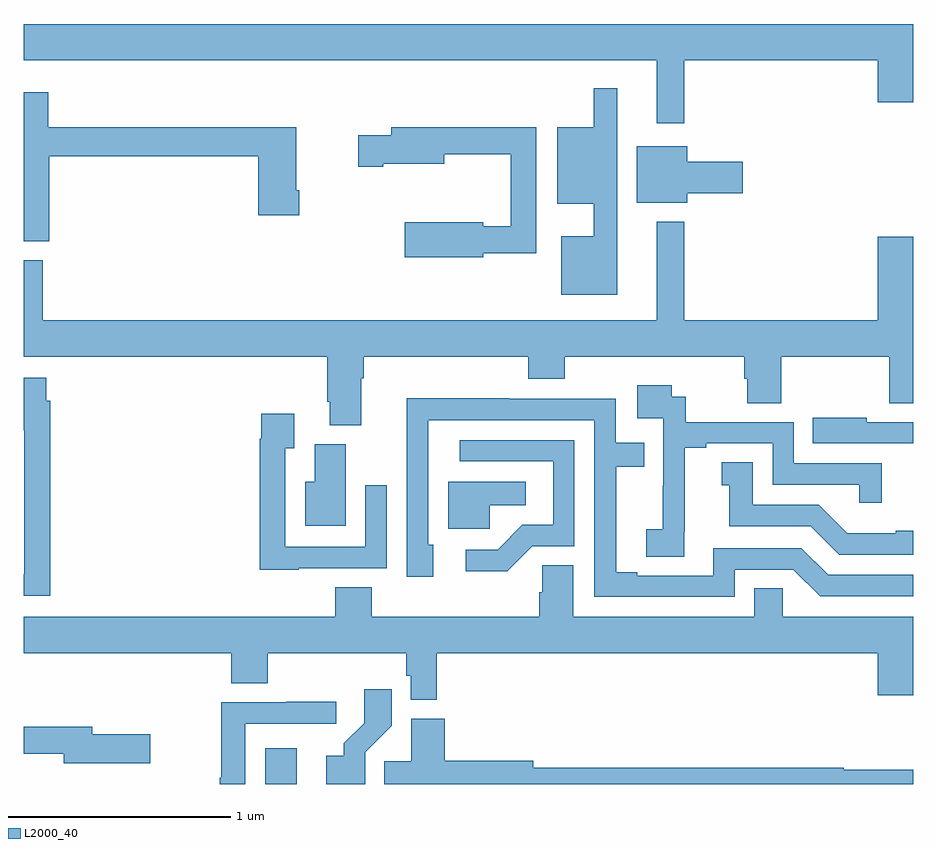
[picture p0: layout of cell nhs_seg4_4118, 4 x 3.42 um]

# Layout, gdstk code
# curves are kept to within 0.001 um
import gdstk
lib = gdstk.Library(unit=1e-6, precision=1e-09)
def R(c, l, rs):  # rectangles x0, y0, x1, y1
    for r in rs: c.add(gdstk.rectangle(r[:2], r[2:], *l))
def P(c, l, *ps):  # polygons
    for p in ps: c.add(gdstk.Polygon(p, *l))
L2000_40 = (2000, 40)

nhs_seg4_4118 = lib.new_cell('nhs_seg4_4118')
R(nhs_seg4_4118, L2000_40, [(330.086,794.9,330.229,795.061)])
P(nhs_seg4_4118, L2000_40, [(331.969,798.152),(332.84,798.152),(332.84,797.964),(333,797.964),(333,798.316),(329,798.316),(329,798.152),(331.847,798.152),(331.847,797.871),(331.969,797.871)],
  [(331.669,798.028),(331.563,798.028),(331.563,797.851),(331.4,797.851),(331.4,797.507),(331.563,797.507),(331.563,797.362),(331.418,797.362),(331.418,797.099),(331.669,797.099)],
  [(329.116,797.722),(330.056,797.722),(330.056,797.457),(330.239,797.457),(330.239,797.569),(330.226,797.569),(330.226,797.851),(329.111,797.851),(329.111,798.01),(329,798.01),(329,797.34),(329.116,797.34)],
  [(331.066,797.286),(331.305,797.286),(331.305,797.851),(330.653,797.851),(330.653,797.817),(330.504,797.817),(330.504,797.675),(330.616,797.675),(330.616,797.687),(330.892,797.687),(330.892,797.73),(331.189,797.73),(331.189,797.407),(331.066,797.407),(331.066,797.425),(330.714,797.425),(330.714,797.267),(331.066,797.267)],
  [(331.984,797.555),(332.233,797.555),(332.233,797.697),(331.984,797.697),(331.984,797.767),(331.757,797.767),(331.757,797.513),(331.984,797.513)],
  [(330.517,796.724),(330.53,796.724),(330.53,796.82),(331.268,796.82),(331.268,796.721),(331.433,796.721),(331.433,796.82),(332.24,796.82),(332.24,796.722),(332.252,796.722),(332.252,796.612),(332.405,796.612),(332.405,796.82),(332.891,796.82),(332.891,796.612),(333,796.612),(333,797.359),(332.84,797.359),(332.84,796.984),(331.969,796.984),(331.969,797.428),(331.847,797.428),(331.847,796.984),(329.086,796.984),(329.086,797.255),(329,797.255),(329,796.82),(330.365,796.82),(330.365,796.618),(330.377,796.618),(330.377,796.513),(330.517,796.513)],
  [(329.12,796.622),(329.101,796.622),(329.101,796.726),(329,796.726),(329,796.49),(329.004,796.49),(329.004,795.843),(329,795.843),(329,795.747),(329.12,795.747)],
  [(331.97,796.033),(331.972,796.033),(331.972,796.411),(332.068,796.411),(332.068,796.431),(332.367,796.431),(332.367,796.245),(332.757,796.245),(332.757,796.164),(332.858,796.164),(332.858,796.341),(332.463,796.341),(332.463,796.527),(331.976,796.527),(331.976,796.641),(331.914,796.641),(331.914,796.693),(331.758,796.693),(331.758,796.545),(331.875,796.545),(331.875,796.241),(331.874,796.241),(331.874,796.044),(331.8,796.044),(331.8,795.922),(331.97,795.922)],
  [(332.196,795.864),(332.46,795.864),(332.58,795.744),(333,795.744),(333,795.84),(332.616,795.84),(332.496,795.96),(332.1,795.96),(332.1,795.837),(331.759,795.837),(331.759,795.852),(331.663,795.852),(331.663,796.326),(331.79,796.326),(331.79,796.434),(331.662,796.434),(331.662,796.632),(331.184,796.632),(331.184,796.634),(330.722,796.634),(330.723,795.831),(330.841,795.831),(330.841,795.975),(330.819,795.975),(330.819,796.536),(331.566,796.536),(331.566,795.741),(332.196,795.741)],
  [(330.237,795.87),(330.633,795.87),(330.633,796.243),(330.537,796.243),(330.537,795.966),(330.177,795.966),(330.177,796.408),(330.217,796.408),(330.217,796.564),(330.069,796.564),(330.069,796.451),(330.061,796.451),(330.061,795.863),(330.237,795.863)],
  [(333,796.527),(332.791,796.527),(332.791,796.546),(332.548,796.546),(332.548,796.431),(333,796.431)],
  [(331.287,795.969),(331.476,795.969),(331.476,796.446),(330.96,796.446),(330.96,796.35),(331.38,796.35),(331.38,796.065),(331.242,796.065),(331.131,795.954),(330.987,795.954),(330.987,795.857),(331.174,795.857)],
  [(330.448,796.428),(330.308,796.428),(330.308,796.258),(330.266,796.258),(330.266,796.061),(330.448,796.061)],
  [(333,796.039),(332.921,796.039),(332.921,796.027),(332.702,796.027),(332.574,796.155),(332.278,796.155),(332.278,796.346),(332.138,796.346),(332.138,796.243),(332.171,796.243),(332.171,796.059),(332.538,796.059),(332.667,795.93),(333,795.93)],
  [(331.095,796.154),(331.258,796.154),(331.258,796.258),(330.908,796.258),(330.908,796.047),(331.095,796.047)],
  [(332.84,795.3),(333,795.3),(333,795.652),(332.412,795.652),(332.412,795.779),(332.285,795.779),(332.285,795.652),(331.471,795.652),(331.471,795.884),(331.332,795.884),(331.332,795.761),(331.319,795.761),(331.319,795.652),(330.566,795.652),(330.566,795.785),(330.401,795.785),(330.401,795.652),(329,795.652),(329,795.488),(329.933,795.488),(329.933,795.352),(330.098,795.352),(330.098,795.488),(330.721,795.488),(330.721,795.387),(330.741,795.387),(330.741,795.278),(330.857,795.278),(330.857,795.488),(332.84,795.488)],
  [(330.537,795.043),(330.656,795.162),(330.656,795.325),(330.531,795.325),(330.531,795.173),(330.44,795.083),(330.44,795.028),(330.36,795.028),(330.36,794.9),(330.537,794.9)],
  [(329.997,795.171),(330.406,795.171),(330.406,795.27),(330.181,795.27),(330.181,795.267),(329.889,795.267),(329.889,794.927),(329.881,794.927),(329.881,794.9),(329.997,794.9)],
  [(333,794.965),(332.687,794.965),(332.687,794.972),(331.291,794.972),(331.291,795.004),(330.893,795.004),(330.893,795.193),(330.743,795.193),(330.743,795.002),(330.622,795.002),(330.622,794.9),(333,794.9)],
  [(329.569,795.123),(329.308,795.123),(329.308,795.157),(329,795.157),(329,795.036),(329.18,795.036),(329.18,794.993),(329.569,794.993)])

lib.write_gds('nhs_seg4_4118.gds')
